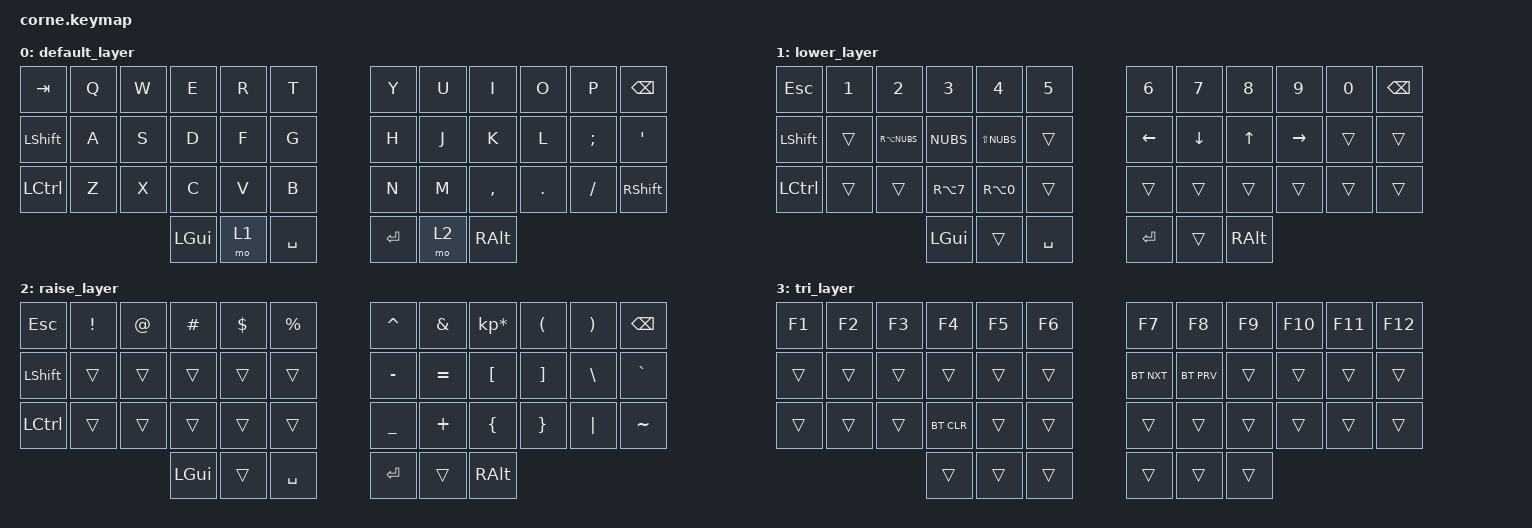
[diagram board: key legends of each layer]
#include <behaviors.dtsi>
#include <dt-bindings/zmk/keys.h>
#include <dt-bindings/zmk/bt.h>


/ {
	conditional_layers {
        compatible = "zmk,conditional-layers";
        tri_layer {
            if-layers = <1 2>;
            then-layer = <3>;
        };
    };

        keymap {
                compatible = "zmk,keymap";

                default_layer {
                        bindings = <
   &kp TAB   &kp Q &kp W &kp E &kp R &kp T   &kp Y &kp U  &kp I     &kp O   &kp P    &kp BSPC
   &kp LSHFT &kp A &kp S &kp D &kp F &kp G   &kp H &kp J  &kp K     &kp L   &kp SEMI &kp SQT
   &kp LCTRL &kp Z &kp X &kp C &kp V &kp B   &kp N &kp M  &kp COMMA &kp DOT &kp FSLH &kp RSHFT
                  &kp LGUI &mo 1  &kp SPACE   &kp RET &mo 2  &kp RALT
                        >;
                };
                lower_layer {
                        bindings = <
   &kp ESC    &kp N1  &kp N2       &kp N3      &kp N4        &kp N5    &kp N6    &kp N7    &kp N8  &kp N9     &kp N0  &kp BSPC
   &kp LSHFT  &trans  &kp RA(NUBS) &kp NUBS    &kp LS(NUBS)  &trans    &kp LEFT  &kp DOWN  &kp UP  &kp RIGHT  &trans  &trans
   &kp LCTRL  &trans  &trans       &kp RA(N7)  &kp RA(N0)    &trans    &trans    &trans    &trans  &trans     &trans  &trans
                                    &kp LGUI  &trans  &kp SPACE        &kp RET  &trans  &kp RALT
                        >;
                };

                raise_layer {
                        bindings = <
   &kp ESC   &kp EXCL &kp AT &kp HASH &kp DLLR &kp PRCNT   &kp CARET &kp AMPS  &kp KP_MULTIPLY &kp LPAR &kp RPAR &kp BSPC
   &kp LSHFT &trans   &trans &trans   &trans   &trans      &kp MINUS &kp EQUAL &kp LBKT        &kp RBKT &kp BSLH &kp GRAVE
   &kp LCTRL &trans   &trans &trans   &trans   &trans      &kp UNDER &kp PLUS  &kp LBRC        &kp RBRC &kp PIPE &kp TILDE
                             &kp LGUI &trans   &kp SPACE   &kp RET   &trans    &kp RALT
                        >;
                };

                tri_layer {
                        bindings = <
   &kp F1  &kp F2  &kp F3  &kp F4      &kp F5  &kp F6    &kp F7      &kp F8      &kp F9  &kp F10  &kp F11  &kp F12
   &trans  &trans  &trans  &trans      &trans  &trans    &bt BT_NXT  &bt BT_PRV  &trans  &trans   &trans   &trans
   &trans  &trans  &trans  &bt BT_CLR  &trans  &trans    &trans      &trans      &trans  &trans   &trans   &trans
                             &trans &trans  &trans  &trans  &trans  &trans
                        >;
                };
        };
};
